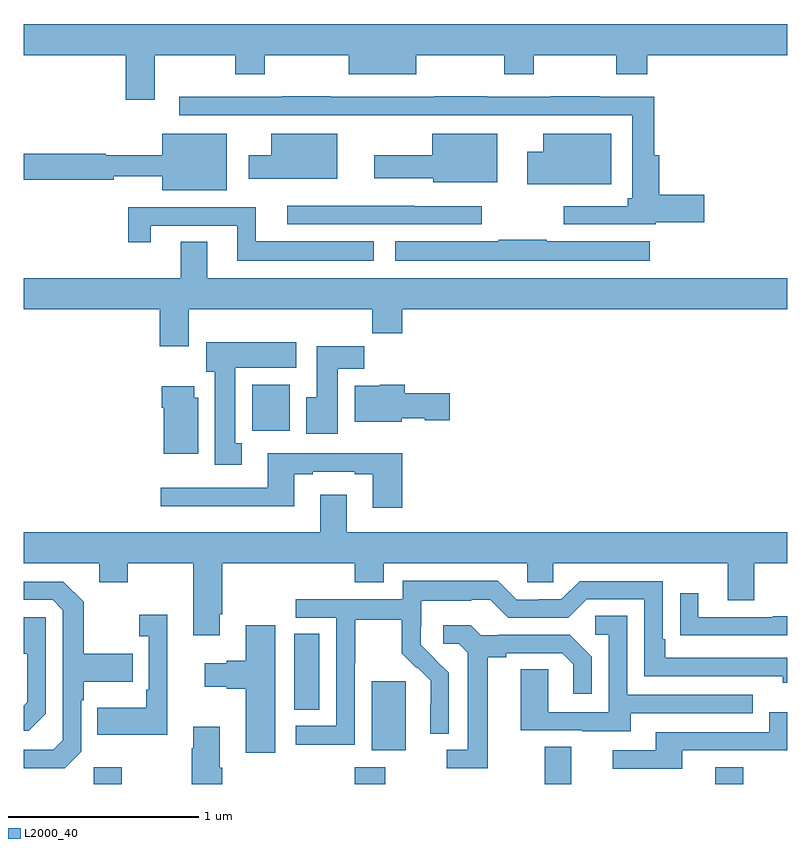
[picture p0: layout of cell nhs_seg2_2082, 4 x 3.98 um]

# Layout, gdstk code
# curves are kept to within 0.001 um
import gdstk
lib = gdstk.Library(unit=1e-6, precision=1e-09)
def R(c, l, rs):  # rectangles x0, y0, x1, y1
    for r in rs: c.add(gdstk.rectangle(r[:2], r[2:], *l))
def P(c, l, *ps):  # polygons
    for p in ps: c.add(gdstk.Polygon(p, *l))
L2000_40 = (2000, 40)

nhs_seg2_2082 = lib.new_cell('nhs_seg2_2082')
R(nhs_seg2_2082, L2000_40, [(219.366,659.8,219.513,659.887), (220.733,659.8,220.893,659.887), (221.729,659.8,221.869,659.996), (222.623,659.8,222.771,659.887), (220.823,659.978,221.002,660.339), (220.418,660.19,220.549,660.587), (220.196,661.652,220.393,661.894)])
P(nhs_seg2_2082, L2000_40, [(219.685,663.62),(220.108,663.62),(220.108,663.521),(220.263,663.521),(220.263,663.62),(220.703,663.62),(220.703,663.521),(221.056,663.521),(221.056,663.62),(221.518,663.62),(221.518,663.521),(221.673,663.521),(221.673,663.62),(222.106,663.62),(222.106,663.521),(222.266,663.521),(222.266,663.62),(223,663.62),(223,663.784),(219,663.784),(219,663.62),(219.533,663.62),(219.533,663.387),(219.685,663.387)],
  [(222.312,662.746),(222.565,662.746),(222.565,662.888),(222.329,662.888),(222.329,663.097),(222.305,663.097),(222.305,663.402),(222.017,663.402),(222.017,663.404),(221.761,663.404),(221.761,663.402),(221.429,663.402),(221.429,663.404),(221.152,663.404),(221.152,663.402),(220.607,663.402),(220.607,663.404),(220.351,663.404),(220.351,663.402),(219.813,663.402),(219.813,663.306),(220.738,663.306),(220.738,663.305),(221.045,663.305),(221.045,663.306),(222.189,663.306),(222.189,662.871),(222.164,662.871),(222.164,662.829),(221.829,662.829),(221.829,662.733),(222.312,662.733)],
  [(222.079,663.208),(221.723,663.208),(221.723,663.115),(221.639,663.115),(221.639,662.945),(222.079,662.945)],
  [(220.063,663.208),(219.725,663.208),(219.725,663.097),(219.429,663.097),(219.429,663.104),(219,663.104),(219,662.968),(219.47,662.968),(219.47,662.987),(219.725,662.987),(219.725,662.912),(220.063,662.912)],
  [(221.482,663.208),(221.141,663.208),(221.141,663.097),(220.836,663.097),(220.836,662.975),(221.145,662.975),(221.145,662.954),(221.482,662.954)],
  [(220.642,663.208),(220.295,663.208),(220.295,663.097),(220.178,663.097),(220.178,662.972),(220.642,662.972)],
  [(221.401,662.829),(221.045,662.829),(221.045,662.83),(220.38,662.83),(220.38,662.733),(221.401,662.733)],
  [(220.834,662.644),(220.216,662.644),(220.216,662.823),(219.547,662.823),(219.547,662.64),(219.664,662.64),(219.664,662.727),(220.118,662.727),(220.118,662.543),(220.834,662.543)],
  [(222.28,662.644),(221.741,662.644),(221.741,662.654),(221.488,662.654),(221.488,662.644),(220.947,662.644),(220.947,662.543),(222.28,662.543)],
  [(219.865,662.288),(220.825,662.288),(220.825,662.164),(220.982,662.164),(220.982,662.288),(223,662.288),(223,662.452),(219.961,662.452),(219.961,662.642),(219.821,662.642),(219.821,662.452),(219,662.452),(219,662.288),(219.713,662.288),(219.713,662.094),(219.865,662.094)],
  [(220.141,661.586),(220.108,661.586),(220.108,661.982),(220.426,661.982),(220.426,662.116),(219.956,662.116),(219.956,661.962),(220.001,661.962),(220.001,661.473),(220.141,661.473)],
  [(220.645,661.976),(220.784,661.976),(220.784,662.095),(220.535,662.095),(220.535,661.828),(220.481,661.828),(220.481,661.635),(220.645,661.635)],
  [(220.98,661.718),(221.1,661.718),(221.1,661.706),(221.233,661.706),(221.233,661.848),(220.997,661.848),(220.997,661.894),(220.866,661.894),(220.866,661.888),(220.733,661.888),(220.733,661.7),(220.98,661.7)],
  [(219.913,661.824),(219.892,661.824),(219.892,661.885),(219.722,661.885),(219.722,661.772),(219.734,661.772),(219.734,661.532),(219.913,661.532)],
  [(220.982,661.534),(220.741,661.534),(220.741,661.533),(220.277,661.533),(220.277,661.353),(219.717,661.353),(219.717,661.256),(220.417,661.256),(220.417,661.425),(220.513,661.425),(220.513,661.437),(220.733,661.437),(220.733,661.425),(220.829,661.425),(220.829,661.248),(220.982,661.248)],
  [(220.027,660.691),(220.04,660.691),(220.04,660.956),(220.733,660.956),(220.733,660.857),(220.885,660.857),(220.885,660.956),(221.637,660.956),(221.637,660.858),(221.775,660.858),(221.775,660.956),(222.689,660.956),(222.689,660.762),(222.829,660.762),(222.829,660.956),(223,660.956),(223,661.12),(220.693,661.12),(220.693,661.315),(220.553,661.315),(220.553,661.12),(219,661.12),(219,660.956),(219.395,660.956),(219.395,660.857),(219.543,660.857),(219.543,660.956),(219.887,660.956),(219.887,660.579),(220.027,660.579)],
  [(220.734,660.436),(220.737,660.436),(220.737,660.66),(220.981,660.66),(220.981,660.485),(221.058,660.408),(221.061,660.411),(221.132,660.341),(221.132,660.218),(221.13,660.218),(221.13,660.064),(221.226,660.064),(221.226,660.382),(221.08,660.53),(221.08,660.627),(221.082,660.627),(221.082,660.761),(221.345,660.761),(221.345,660.765),(221.445,660.765),(221.538,660.672),(221.853,660.672),(221.949,660.768),(222.252,660.768),(222.252,660.366),(222.977,660.366),(222.977,660.332),(223,660.332),(223,660.462),(222.361,660.462),(222.361,660.559),(222.348,660.559),(222.348,660.864),(221.913,660.864),(221.817,660.768),(221.699,660.768),(221.699,660.765),(221.583,660.765),(221.483,660.865),(220.986,660.865),(220.986,660.768),(220.425,660.768),(220.425,660.672),(220.638,660.672),(220.638,660.105),(220.425,660.105),(220.425,660.007),(220.734,660.007)],
  [(219.3,659.97),(219.3,660.239),(219.313,660.239),(219.313,660.335),(219.569,660.335),(219.569,660.483),(219.313,660.483),(219.313,660.755),(219.207,660.861),(219,660.861),(219,660.765),(219.15,660.765),(219.204,660.711),(219.204,660.03),(219.153,659.979),(219,659.979),(219,659.883),(219.213,659.883)],
  [(223,660.68),(222.925,660.68),(222.925,660.675),(222.535,660.675),(222.535,660.799),(222.439,660.799),(222.439,660.58),(222.541,660.58),(222.541,660.579),(223,660.579)],
  [(219.752,660.688),(219.603,660.688),(219.603,660.575),(219.654,660.575),(219.654,660.295),(219.642,660.295),(219.642,660.199),(219.385,660.199),(219.385,660.059),(219.752,660.059)],
  [(222.181,660.171),(222.821,660.171),(222.821,660.267),(222.162,660.267),(222.162,660.683),(221.994,660.683),(221.994,660.582),(222.066,660.582),(222.066,660.177),(221.748,660.177),(221.748,660.401),(221.603,660.401),(221.603,660.081),(221.927,660.081),(221.927,660.077),(222.181,660.077)],
  [(219.114,660.168),(219.114,660.675),(219,660.675),(219,660.482),(219.018,660.482),(219.018,660.228),(219,660.21),(219,660.078),(219.024,660.078)],
  [(220.318,660.631),(220.163,660.631),(220.163,660.446),(220.064,660.446),(220.064,660.433),(219.948,660.433),(219.948,660.311),(220.064,660.311),(220.064,660.299),(220.163,660.299),(220.163,659.964),(220.318,659.964)],
  [(221.431,660.464),(221.527,660.464),(221.527,660.486),(221.822,660.486),(221.879,660.429),(221.879,660.273),(221.976,660.273),(221.976,660.466),(221.86,660.582),(221.488,660.582),(221.488,660.579),(221.394,660.579),(221.342,660.631),(221.199,660.631),(221.199,660.534),(221.28,660.534),(221.327,660.487),(221.327,659.979),(221.217,659.979),(221.217,659.883),(221.431,659.883)],
  [(222.451,659.976),(223,659.976),(223,660.175),(222.906,660.175),(222.906,660.072),(222.311,660.072),(222.311,659.976),(222.087,659.976),(222.087,659.88),(222.451,659.88)],
  [(220.04,659.884),(220.027,659.884),(220.027,660.1),(219.887,660.1),(219.887,659.987),(219.88,659.987),(219.88,659.8),(220.04,659.8)])

lib.write_gds('nhs_seg2_2082.gds')
